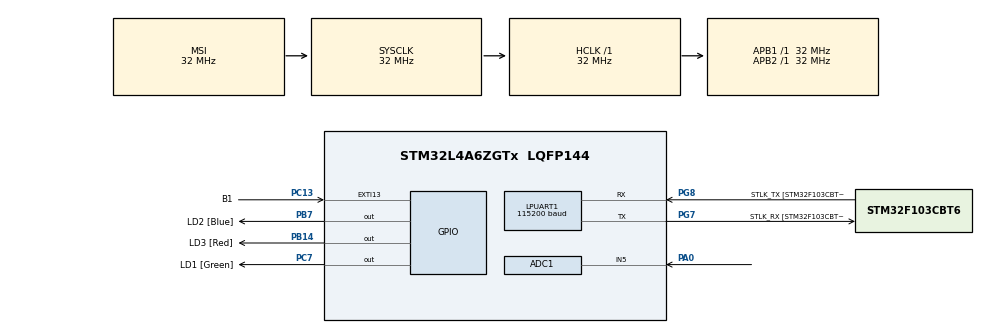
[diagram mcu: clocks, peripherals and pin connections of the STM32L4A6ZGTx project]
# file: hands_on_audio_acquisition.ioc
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ADC1.Channel-0\#ChannelRegularConversion=ADC_CHANNEL_5
ADC1.DMAContinuousRequests=ENABLE
ADC1.ExternalTrigConv=ADC_EXTERNALTRIG_T3_TRGO
ADC1.NbrOfConversionFlag=1
ADC1.OffsetNumber-0\#ChannelRegularConversion=ADC_OFFSET_NONE
ADC1.Rank-0\#ChannelRegularConversion=1
ADC1.SamplingTime-0\#ChannelRegularConversion=ADC_SAMPLETIME_2CYCLES_5
ADC1.master=1
Dma.ADC1.0.Direction=DMA_PERIPH_TO_MEMORY
Dma.ADC1.0.Instance=DMA1_Channel1
Dma.ADC1.0.MemDataAlignment=DMA_MDATAALIGN_HALFWORD
Dma.ADC1.0.MemInc=DMA_MINC_ENABLE
Dma.ADC1.0.Mode=DMA_CIRCULAR
Dma.ADC1.0.PeriphDataAlignment=DMA_PDATAALIGN_HALFWORD
Dma.ADC1.0.PeriphInc=DMA_PINC_DISABLE
Dma.ADC1.0.Priority=DMA_PRIORITY_LOW
Dma.Request0=ADC1
LPUART1.AutoBaudRateEnableParam=UART_ADVFEATURE_AUTOBAUDRATE_DISABLE
LPUART1.BaudRate=115200
LPUART1.DMADisableonRxErrorParam=UART_ADVFEATURE_DMA_ENABLEONRXERROR
LPUART1.DataInvertParam=UART_ADVFEATURE_DATAINV_DISABLE
LPUART1.MSBFirstParam=UART_ADVFEATURE_MSBFIRST_DISABLE
LPUART1.Mode=UART_MODE_TX_RX
LPUART1.OneBitSampling=UART_ONE_BIT_SAMPLE_DISABLE
LPUART1.OverrunDisableParam=UART_ADVFEATURE_OVERRUN_ENABLE
LPUART1.Parity=UART_PARITY_NONE
LPUART1.RxPinLevelInvertParam=UART_ADVFEATURE_RXINV_DISABLE
LPUART1.StopBits=UART_STOPBITS_1
LPUART1.SwapParam=UART_ADVFEATURE_SWAP_DISABLE
LPUART1.TxPinLevelInvertParam=UART_ADVFEATURE_TXINV_DISABLE
LPUART1.WordLength=UART_WORDLENGTH_8B
Mcu.Family=STM32L4
Mcu.Name=STM32L4A6ZGTx
Mcu.Package=LQFP144
NVIC.DMA1_Channel1_IRQn=true\:0\:0\:false\:false\:true\:false\:true\:true
NVIC.EXTI15_10_IRQn=true\:0\:0\:false\:false\:true\:true\:true\:true
NVIC.PriorityGroup=NVIC_PRIORITYGROUP_4
PA0.Signal=ADCx_IN5
PA13\ (JTMS/SWDIO).GPIO_Label=TMS
PA13\ (JTMS/SWDIO).Mode=Trace_Asynchronous_SW
PA13\ (JTMS/SWDIO).Signal=SYS_JTMS-SWDIO
PA14\ (JTCK/SWCLK).GPIO_Label=TCK
PA14\ (JTCK/SWCLK).Mode=Trace_Asynchronous_SW
PA14\ (JTCK/SWCLK).Signal=SYS_JTCK-SWCLK
PB14.GPIO_Label=LD3 [Red]
PB14.Signal=GPIO_Output
PB3\ (JTDO/TRACESWO).GPIO_Label=SWO
PB3\ (JTDO/TRACESWO).Mode=Trace_Asynchronous_SW
PB3\ (JTDO/TRACESWO).Signal=SYS_JTDO-SWO
PB7.GPIO_Label=LD2 [Blue]
PB7.Signal=GPIO_Output
PC13.GPIO_Label=B1
PC13.GPIO_PuPd=GPIO_NOPULL
PC13.Signal=GPXTI13
PC14-OSC32_IN\ (PC14).Mode=LSE-External-Oscillator
PC14-OSC32_IN\ (PC14).Signal=RCC_OSC32_IN
PC15-OSC32_OUT\ (PC15).Mode=LSE-External-Oscillator
PC15-OSC32_OUT\ (PC15).Signal=RCC_OSC32_OUT
PC7.GPIO_Label=LD1 [Green]
PC7.Signal=GPIO_Output
PG7.GPIO_Label=STLK_RX [STM32F103CBT6_PA3]
PG7.Mode=Asynchronous
PG7.Signal=LPUART1_TX
PG8.GPIO_Label=STLK_TX [STM32F103CBT6_PA2]
PG8.Mode=Asynchronous
PG8.Signal=LPUART1_RX
PH1-OSC_OUT\ (PH1).Signal=RCC_OSC_OUT
ProjectManager.HeapSize=0x200
ProjectManager.StackSize=0x400
ProjectManager.TargetToolchain=STM32CubeIDE
RCC.ADCCLockSelection=RCC_ADCCLKSOURCE_SYSCLK
RCC.ADCFreq_Value=32000000
RCC.AHBFreq_Value=32000000
RCC.APB1Freq_Value=32000000
RCC.APB1TimFreq_Value=32000000
RCC.APB2Freq_Value=32000000
RCC.APB2TimFreq_Value=32000000
RCC.CortexFreq_Value=32000000
RCC.FLatency=FLASH_LATENCY_1
RCC.HCLKFreq_Value=32000000
RCC.HSE_VALUE=8000000
RCC.HSI48_VALUE=48000000
RCC.HSI_VALUE=16000000
RCC.MSIClockRange=RCC_MSIRANGE_10
RCC.MSI_VALUE=32000000
RCC.PLLN=71
RCC.PLLR=RCC_PLLR_DIV6
RCC.PLLSAI1N=24
RCC.SYSCLKFreq_VALUE=32000000
RCC.USBFreq_Value=384000000
RCC.VCOOutputFreq_Value=2272000000
SH.ADCx_IN5.0=ADC1_IN5,IN5-Single-Ended
TIM3.Period=195
TIM3.Prescaler=15
TIM3.TIM_MasterOutputTrigger=TIM_TRGO_UPDATE
VP_TIM3_VS_ClockSourceINT.Mode=Internal
board=NUCLEO-L4A6ZG

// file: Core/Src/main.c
/* USER CODE BEGIN Header */
/**
  **************************
  * @file           : main.c
  * @brief          : Main program body
  **************************
  * @attention
  *
  * <h2><center>&copy; Copyright (c) 2021 STMicroelectronics.
  * All rights reserved.</center></h2>
  *
  * This software component is licensed by ST under BSD 3-Clause license,
  * the "License"; You may not use this file except in compliance with the
  * License. You may obtain a copy of the License at:
  *                        opensource.org/licenses/BSD-3-Clause
  *
  **************************
  */
/* USER CODE END Header */
#include "main.h"
#include "adc.h"
#include "dma.h"
#include "usart.h"
#include "tim.h"
#include "gpio.h"

/* USER CODE BEGIN Includes */
#include <stdio.h>
#include "retarget.h"
/* USER CODE END Includes */

/* USER CODE BEGIN PD */
#define ADC_BUF_SIZE 30000
/* USER CODE END PD */

/* USER CODE BEGIN PV */
volatile int state;
volatile uint16_t ADCBuffer[2*ADC_BUF_SIZE]; /* ADC group regular conversion data (array of data) */
volatile uint16_t* ADCData1;
volatile uint16_t* ADCData2;

char hex_encoded_buffer[4*ADC_BUF_SIZE+1];
/* USER CODE END PV */

void SystemClock_Config(void);
/* USER CODE BEGIN PFP */
void hex_encode(char* s, const uint8_t* buf, size_t len);
void print_buffer(uint16_t *buffer);
uint32_t get_signal_power(uint16_t *buffer, size_t len);
/* USER CODE END PFP */

/* USER CODE BEGIN 0 */
void HAL_GPIO_EXTI_Callback(uint16_t GPIO_Pin) {
	if(GPIO_Pin == B1_Pin){

	        // Démarre le sampling ADC en DMA
	        HAL_ADC_Start_DMA(&hadc1, (uint32_t*)ADCBuffer, 2*ADC_BUF_SIZE);
	        // Démarre le timer (qui déclenche ADC)
	        HAL_TIM_Base_Start(&htim3);
	    }

}

void hex_encode(char* s, const uint8_t* buf, size_t len) {
    s[2*len] = '\0'; // A string terminated by a zero char.
    for (size_t i=0; i<len; i++) {
        s[i*2] = "0123456789abcdef"[buf[i] >> 4];
        s[i*2+1] = "0123456789abcdef"[buf[i] & 0xF];
    }
}

void print_buffer(uint16_t *buffer) {
	hex_encode(hex_encoded_buffer, (uint8_t*)buffer, 2*ADC_BUF_SIZE);
	printf("SND:HEX:%s\r\n", hex_encoded_buffer);
}

uint32_t get_signal_power(uint16_t *buffer, size_t len){
	uint64_t sum = 0;
	uint64_t sum2 = 0;
	for (size_t i=0; i<len; i++) {
		sum += (uint64_t) buffer[i];
		sum2 += (uint64_t) buffer[i]*(uint64_t) buffer[i];
	}
	return (uint32_t)(sum2/len - sum*sum/len/len);
}
/* USER CODE END 0 */

int main(void)
{

  /* MCU Configuration--------------------------------------------------------*/

  /* Reset of all peripherals, Initializes the Flash interface and the Systick. */
  HAL_Init();

  /* Configure the system clock */
  SystemClock_Config();

  /* Initialize all configured peripherals */
  MX_GPIO_Init();
  MX_DMA_Init();
  MX_LPUART1_UART_Init();
  MX_ADC1_Init();
  MX_TIM3_Init();
  /* USER CODE BEGIN 2 */
  RetargetInit(&hlpuart1);
  printf("Hello world!\r\n");
  state=0;
  ADCData1 = &ADCBuffer[0];
  ADCData2 = &ADCBuffer[ADC_BUF_SIZE];
  /* USER CODE END 2 */

  /* Infinite loop */
  /* USER CODE BEGIN WHILE */

  while (1){

	    __WFI();       // sommeil

  }
    /* USER CODE END WHILE */

}

void SystemClock_Config(void)
{
  RCC_OscInitTypeDef RCC_OscInitStruct = {0};
  RCC_ClkInitTypeDef RCC_ClkInitStruct = {0};

  /** Configure the main internal regulator output voltage
  */
  if (HAL_PWREx_ControlVoltageScaling(PWR_REGULATOR_VOLTAGE_SCALE1) != HAL_OK)
  {
    Error_Handler();
  }

  /** Initializes the RCC Oscillators according to the specified parameters
  * in the RCC_OscInitTypeDef structure.
  */
  RCC_OscInitStruct.OscillatorType = RCC_OSCILLATORTYPE_MSI;
  RCC_OscInitStruct.MSIState = RCC_MSI_ON;
  RCC_OscInitStruct.MSICalibrationValue = 0;
  RCC_OscInitStruct.MSIClockRange = RCC_MSIRANGE_10;
  RCC_OscInitStruct.PLL.PLLState = RCC_PLL_NONE;
  if (HAL_RCC_OscConfig(&RCC_OscInitStruct) != HAL_OK)
  {
    Error_Handler();
  }

  /** Initializes the CPU, AHB and APB buses clocks
  */
  RCC_ClkInitStruct.ClockType = RCC_CLOCKTYPE_HCLK|RCC_CLOCKTYPE_SYSCLK
                              |RCC_CLOCKTYPE_PCLK1|RCC_CLOCKTYPE_PCLK2;
  RCC_ClkInitStruct.SYSCLKSource = RCC_SYSCLKSOURCE_MSI;
  RCC_ClkInitStruct.AHBCLKDivider = RCC_SYSCLK_DIV1;
  RCC_ClkInitStruct.APB1CLKDivider = RCC_HCLK_DIV1;
  RCC_ClkInitStruct.APB2CLKDivider = RCC_HCLK_DIV1;

  if (HAL_RCC_ClockConfig(&RCC_ClkInitStruct, FLASH_LATENCY_1) != HAL_OK)
  {
    Error_Handler();
  }
}

/* USER CODE BEGIN 4 */
u_int32_t threshold=0;
void HAL_ADC_ConvCpltCallback(ADC_HandleTypeDef *hadc)
{
	uint32_t power_signal = get_signal_power(ADCData2, ADC_BUF_SIZE);
	printf("power signal %ld\n", power_signal);
	printf("threshold %d\n", threshold);
	if (power_signal > threshold){
			HAL_TIM_Base_Stop(&htim3);
			HAL_ADC_Stop_DMA(&hadc1);
			print_buffer(ADCData2);
	}
}

void HAL_ADC_ConvHalfCpltCallback(ADC_HandleTypeDef *hadc)
{
	uint32_t power_signal = get_signal_power(ADCData1, ADC_BUF_SIZE);
	printf("power signal %ld\n", power_signal);
	printf("threshold %d\n", threshold);
	if (power_signal > threshold){
			HAL_TIM_Base_Stop(&htim3);
			HAL_ADC_Stop_DMA(&hadc1);
			print_buffer(ADCData1);
	}

}

/* USER CODE END 4 */

void Error_Handler(void)
{
  __disable_irq();
  while (1)
  {
  }
}
